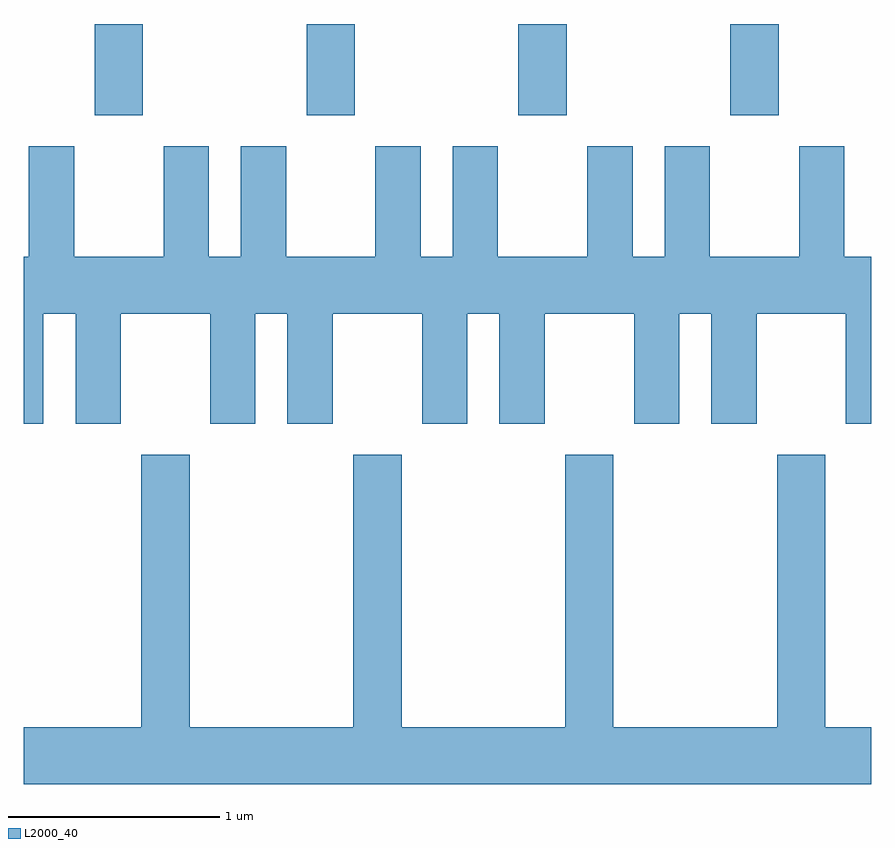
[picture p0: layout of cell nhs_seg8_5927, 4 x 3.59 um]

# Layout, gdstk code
import gdstk
lib = gdstk.Library(unit=1e-6, precision=1e-09)
def R(c, l, rs):  # rectangles x0, y0, x1, y1
    for r in rs: c.add(gdstk.rectangle(r[:2], r[2:], *l))
def A(c, l, x, y, w, h, nx, ny, dx, dy):  # array of equal rectangles
    R(c, l, [(x+i*dx, y+j*dy, x+i*dx+w, y+j*dy+h) for i in range(nx) for j in range(ny)])
def P(c, l, *ps):  # polygons
    for p in ps: c.add(gdstk.Polygon(p, *l))
L2000_40 = (2000, 40)

nhs_seg8_5927 = lib.new_cell('nhs_seg8_5927')
A(nhs_seg8_5927, L2000_40, 361.946, 1943.911, 0.228, 0.431, 4, 1, 1, 0)
P(nhs_seg8_5927, L2000_40, [(361.704,1942.976),(361.856,1942.976),(361.856,1942.456),(362.069,1942.456),(362.069,1942.976),(362.491,1942.976),(362.491,1942.456),(362.704,1942.456),(362.704,1942.976),(362.856,1942.976),(362.856,1942.456),(363.069,1942.456),(363.069,1942.976),(363.491,1942.976),(363.491,1942.456),(363.704,1942.456),(363.704,1942.976),(363.856,1942.976),(363.856,1942.456),(364.069,1942.456),(364.069,1942.976),(364.491,1942.976),(364.491,1942.456),(364.704,1942.456),(364.704,1942.976),(364.856,1942.976),(364.856,1942.456),(365.069,1942.456),(365.069,1942.976),(365.491,1942.976),(365.491,1942.456),(365.611,1942.456),(365.611,1943.244),(365.484,1943.244),(365.484,1943.764),(365.271,1943.764),(365.271,1943.244),(364.849,1943.244),(364.849,1943.764),(364.636,1943.764),(364.636,1943.244),(364.484,1943.244),(364.484,1943.764),(364.271,1943.764),(364.271,1943.244),(363.849,1943.244),(363.849,1943.764),(363.636,1943.764),(363.636,1943.244),(363.484,1943.244),(363.484,1943.764),(363.271,1943.764),(363.271,1943.244),(362.849,1943.244),(362.849,1943.764),(362.636,1943.764),(362.636,1943.244),(362.484,1943.244),(362.484,1943.764),(362.271,1943.764),(362.271,1943.244),(361.849,1943.244),(361.849,1943.764),(361.636,1943.764),(361.636,1943.244),(361.611,1943.244),(361.611,1942.456),(361.704,1942.456)],
  [(365.611,1941.024),(365.394,1941.024),(365.394,1942.309),(365.166,1942.309),(365.166,1941.024),(364.394,1941.024),(364.394,1942.309),(364.166,1942.309),(364.166,1941.024),(363.394,1941.024),(363.394,1942.309),(363.166,1942.309),(363.166,1941.024),(362.394,1941.024),(362.394,1942.309),(362.166,1942.309),(362.166,1941.024),(361.611,1941.024),(361.611,1940.756),(365.611,1940.756)])

lib.write_gds('nhs_seg8_5927.gds')
